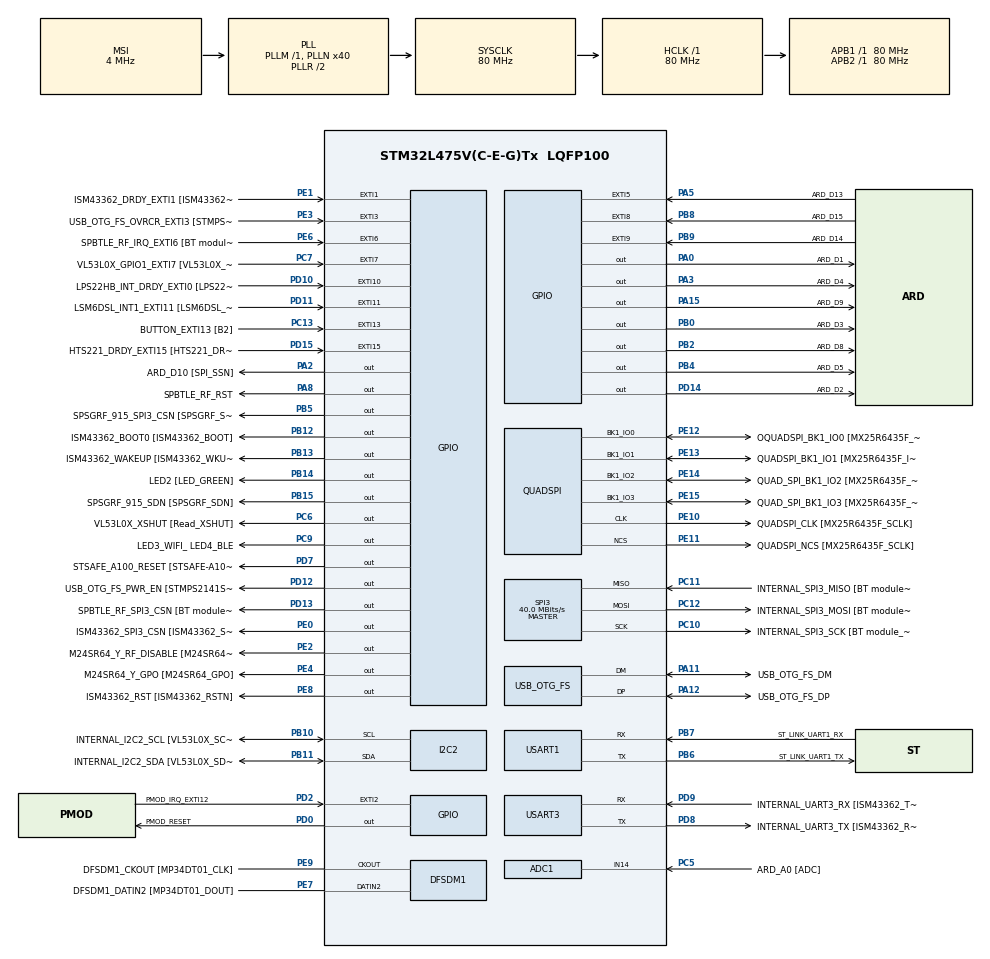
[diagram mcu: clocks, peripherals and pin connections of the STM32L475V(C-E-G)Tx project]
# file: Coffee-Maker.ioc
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ADC1.Channel-0\#ChannelRegularConversion=ADC_CHANNEL_14
ADC1.NbrOfConversionFlag=1
ADC1.OffsetNumber-0\#ChannelRegularConversion=ADC_OFFSET_NONE
ADC1.Rank-0\#ChannelRegularConversion=1
ADC1.SamplingTime-0\#ChannelRegularConversion=ADC_SAMPLETIME_2CYCLES_5
ADC1.master=1
Mcu.Family=STM32L4
Mcu.Name=STM32L475V(C-E-G)Tx
Mcu.Package=LQFP100
NVIC.EXTI15_10_IRQn=true\:0\:0\:false\:false\:true\:true\:true
NVIC.EXTI9_5_IRQn=true\:0\:0\:false\:false\:true\:true\:true
NVIC.PriorityGroup=NVIC_PRIORITYGROUP_4
PA0.GPIO_Label=ARD_D1
PA0.Signal=GPIO_Output
PA1.GPIO_Label=ARD_D0 [UART4_RX]
PA1.Signal=UART4_RX
PA10.GPIO_Label=USB_OTG_FS_ID
PA10.Signal=USB_OTG_FS_ID
PA11.GPIO_Label=USB_OTG_FS_DM
PA11.Mode=Device_Only
PA11.Signal=USB_OTG_FS_DM
PA12.GPIO_Label=USB_OTG_FS_DP
PA12.Mode=Device_Only
PA12.Signal=USB_OTG_FS_DP
PA13\ (JTMS-SWDIO).GPIO_Label=SYS_JTMS_SWDIO
PA13\ (JTMS-SWDIO).Mode=Serial_Wire
PA13\ (JTMS-SWDIO).Signal=SYS_JTMS-SWDIO
PA14\ (JTCK-SWCLK).GPIO_Label=SYS_JTCK_SWCLK
PA14\ (JTCK-SWCLK).Mode=Serial_Wire
PA14\ (JTCK-SWCLK).Signal=SYS_JTCK-SWCLK
PA15\ (JTDI).GPIO_Label=ARD_D9
PA15\ (JTDI).Signal=GPIO_Output
PA2.GPIO_Label=ARD_D10 [SPI_SSN]
PA2.Signal=GPIO_Output
PA3.GPIO_Label=ARD_D4
PA3.Signal=GPIO_Output
PA4.GPIO_Label=ARD_D7
PA4.Signal=ADCx_IN9
PA5.GPIO_Label=ARD_D13
PA5.Signal=GPXTI5
PA6.GPIO_Label=ARD_D12 [SPI1_MISO]
PA6.Signal=SPI1_MISO
PA7.GPIO_Label=ARD_D11 [SPI1_MOSI]
PA7.Signal=SPI1_MOSI
PA8.GPIO_Label=SPBTLE_RF_RST
PA8.Signal=GPIO_Output
PA9.GPIO_Label=USB_OTG_FS_VBUS [STMPS2141STR_OUT]
PA9.Signal=USB_OTG_FS_VBUS
PB0.GPIO_Label=ARD_D3
PB0.Signal=GPIO_Output
PB1.GPIO_Label=ARD_D6 [ADC1_IN6]
PB1.Signal=ADCx_IN16
PB10.GPIO_Label=INTERNAL_I2C2_SCL [VL53L0X_SCL]
PB10.GPIO_Pu=GPIO_PULLUP
PB10.Mode=I2C
PB10.Signal=I2C2_SCL
PB11.GPIO_Label=INTERNAL_I2C2_SDA [VL53L0X_SDA]
PB11.GPIO_Pu=GPIO_PULLUP
PB11.Mode=I2C
PB11.Signal=I2C2_SDA
PB12.GPIO_Label=ISM43362_BOOT0 [ISM43362_BOOT]
PB12.Signal=GPIO_Output
PB13.GPIO_Label=ISM43362_WAKEUP [ISM43362_WKUP]
PB13.Signal=GPIO_Output
PB14.GPIO_Label=LED2 [LED_GREEN]
PB14.Signal=GPIO_Output
PB15.GPIO_Label=SPSGRF_915_SDN [SPSGRF_SDN]
PB15.Signal=GPIO_Output
PB2.GPIO_Label=ARD_D8
PB2.Signal=GPIO_Output
PB3\ (JTDO-TRACESWO).GPIO_Label=SYS_JTD0_SWO
PB3\ (JTDO-TRACESWO).Signal=SYS_JTDO-SWO
PB4\ (NJTRST).GPIO_Label=ARD_D5
PB4\ (NJTRST).Signal=GPIO_Output
PB5.GPIO_Label=SPSGRF_915_SPI3_CSN [SPSGRF_SPI_CS]
PB5.PinState=GPIO_PIN_SET
PB5.Signal=GPIO_Output
PB6.GPIO_Label=ST_LINK_UART1_TX
PB6.Mode=Asynchronous
PB6.Signal=USART1_TX
PB7.GPIO_Label=ST_LINK_UART1_RX
PB7.Mode=Asynchronous
PB7.Signal=USART1_RX
PB8.GPIO_Label=ARD_D15
PB8.Signal=GPXTI8
PB9.GPIO_Label=ARD_D14
PB9.Signal=GPXTI9
PC0.GPIO_Label=ARD_A5 [ADC]
PC0.Signal=ADCx_IN1
PC1.GPIO_Label=ARD_A4 [ADC]
PC1.Signal=ADCx_IN2
PC10.GPIO_Label=INTERNAL_SPI3_SCK [BT module_SPI_SCLK] [ISM43362_SCK]
PC10.Mode=Full_Duplex_Master
PC10.Signal=SPI3_SCK
PC11.GPIO_Label=INTERNAL_SPI3_MISO [BT module_SPI_MISO] [ISM43362_MISO]
PC11.Mode=Full_Duplex_Master
PC11.Signal=SPI3_MISO
PC12.GPIO_Label=INTERNAL_SPI3_MOSI [BT module_SPI_MOSI] [ISM43362_MOSI]
PC12.Mode=Full_Duplex_Master
PC12.Signal=SPI3_MOSI
PC13.GPIO_Label=BUTTON_EXTI13 [B2]
PC13.GPIO_ModeDefaultEXTI=GPIO_MODE_IT_FALLING
PC13.Signal=GPXTI13
PC14-OSC32_IN\ (PC14).Mode=LSE-External-Oscillator
PC14-OSC32_IN\ (PC14).Signal=RCC_OSC32_IN
PC15-OSC32_OUT\ (PC15).Mode=LSE-External-Oscillator
PC15-OSC32_OUT\ (PC15).Signal=RCC_OSC32_OUT
PC2.GPIO_Label=ARD_A3 [ADC]
PC2.Signal=ADCx_IN3
PC3.GPIO_Label=ARD_A2 [ADC]
PC3.Signal=ADCx_IN4
PC4.GPIO_Label=ARD_A1 [ADC]
PC4.Signal=ADCx_IN13
PC5.GPIO_Label=ARD_A0 [ADC]
PC5.Signal=ADCx_IN14
PC6.GPIO_Label=VL53L0X_XSHUT [Read_XSHUT]
PC6.Signal=GPIO_Output
PC7.GPIO_Label=VL53L0X_GPIO1_EXTI7 [VL53L0X_GPIO1]
PC7.Signal=GPXTI7
PC9.GPIO_Label=LED3_WIFI_ LED4_BLE
PC9.Signal=GPIO_Output
PD0.GPIO_Label=PMOD_RESET
PD0.Signal=GPIO_Output
PD1.GPIO_Label=PMOD_SPI2_SCK
PD1.Signal=SPI2_SCK
PD10.GPIO_Label=LPS22HB_INT_DRDY_EXTI0 [LPS22HB_INT_DRDY] 
PD10.Signal=GPXTI10
PD11.GPIO_Label=LSM6DSL_INT1_EXTI11 [LSM6DSL_INT1]
PD11.Signal=GPXTI11
PD12.GPIO_Label=USB_OTG_FS_PWR_EN [STMPS2141STR_EN]
PD12.Signal=GPIO_Output
PD13.GPIO_Label=SPBTLE_RF_SPI3_CSN [BT module_SPI_CS]
PD13.PinState=GPIO_PIN_SET
PD13.Signal=GPIO_Output
PD14.GPIO_Label=ARD_D2
PD14.Signal=GPIO_Output
PD15.GPIO_Label=HTS221_DRDY_EXTI15 [HTS221_DRDY]
PD15.Signal=GPXTI15
PD2.GPIO_Label=PMOD_IRQ_EXTI12
PD2.Signal=GPXTI2
PD3.GPIO_Label=PMOD_UART2_CTS
PD3.Signal=USART2_CTS
PD4.GPIO_Label=PMOD_UART2_RTS
PD4.Signal=USART2_RTS
PD5.GPIO_Label=PMOD_UART2_TX
PD5.Signal=USART2_TX
PD6.GPIO_Label=PMOD_UART2_RX
PD6.Signal=USART2_RX
PD7.GPIO_Label=STSAFE_A100_RESET [STSAFE-A100_RESET]
PD7.Signal=GPIO_Output
PD8.GPIO_Label=INTERNAL_UART3_TX [ISM43362_RX]
PD8.Mode=Asynchronous
PD8.Signal=USART3_TX
PD9.GPIO_Label=INTERNAL_UART3_RX [ISM43362_TX]
PD9.Mode=Asynchronous
PD9.Signal=USART3_RX
PE0.GPIO_Label=ISM43362_SPI3_CSN [ISM43362_SSN]
PE0.PinState=GPIO_PIN_SET
PE0.Signal=GPIO_Output
PE1.GPIO_Label=ISM43362_DRDY_EXTI1 [ISM43362_DATARDY]
PE1.Signal=GPXTI1
PE10.GPIO_Label=QUADSPI_CLK [MX25R6435F_SCLK]
PE10.Mode=Single Bank
PE10.Signal=QUADSPI_CLK
PE11.GPIO_Label=QUADSPI_NCS [MX25R6435F_SCLK]
PE11.Mode=Single Bank
PE11.Signal=QUADSPI_NCS
PE12.GPIO_Label=OQUADSPI_BK1_IO0 [MX25R6435F_IO0]
PE12.Mode=Single Bank
PE12.Signal=QUADSPI_BK1_IO0
PE13.GPIO_Label=QUADSPI_BK1_IO1 [MX25R6435F_IO1]
PE13.Mode=Single Bank
PE13.Signal=QUADSPI_BK1_IO1
PE14.GPIO_Label=QUAD_SPI_BK1_IO2 [MX25R6435F_IO2]
PE14.Mode=Single Bank
PE14.Signal=QUADSPI_BK1_IO2
PE15.GPIO_Label=QUAD_SPI_BK1_IO3 [MX25R6435F_IO3]
PE15.Mode=Single Bank
PE15.Signal=QUADSPI_BK1_IO3
PE2.GPIO_Label=M24SR64_Y_RF_DISABLE [M24SR64_RFDIS]
PE2.Signal=GPIO_Output
PE3.GPIO_Label=USB_OTG_FS_OVRCR_EXTI3 [STMPS2141STR_FAULT]
PE3.Signal=GPXTI3
PE4.GPIO_Label=M24SR64_Y_GPO [M24SR64_GPO]
PE4.Signal=GPIO_Output
PE6.GPIO_Label=SPBTLE_RF_IRQ_EXTI6 [BT module_SPI_IRQ]
PE6.Signal=GPXTI6
PE7.GPIO_Label=DFSDM1_DATIN2 [MP34DT01_DOUT]
PE7.Signal=S_DATAIN2DFSDM1
PE8.GPIO_Label=ISM43362_RST [ISM43362_RSTN]
PE8.Signal=GPIO_Output
PE9.GPIO_Label=DFSDM1_CKOUT [MP34DT01_CLK]
PE9.Signal=S_CKOUTDFSDM1
ProjectManager.HeapSize=0x200
ProjectManager.StackSize=0x400
ProjectManager.TargetToolchain=STM32CubeIDE
QUADSPI.ClockPrescaler=2
QUADSPI.FifoThreshold=4
QUADSPI.FlashSize=23
QUADSPI.SampleShifting=QSPI_SAMPLE_SHIFTING_HALFCYCLE
RCC.ADCFreq_Value=48000000
RCC.AHBFreq_Value=80000000
RCC.APB1Freq_Value=80000000
RCC.APB1TimFreq_Value=80000000
RCC.APB2Freq_Value=80000000
RCC.APB2TimFreq_Value=80000000
RCC.CortexFreq_Value=80000000
RCC.HCLKFreq_Value=80000000
RCC.HSE_VALUE=8000000
RCC.HSI_VALUE=16000000
RCC.MSI_VALUE=4000000
RCC.PLLN=40
RCC.PLLSAI1N=24
RCC.SYSCLKFreq_VALUE=80000000
RCC.SYSCLKSource=RCC_SYSCLKSOURCE_PLLCLK
RCC.USBFreq_Value=48000000
RCC.VCOOutputFreq_Value=160000000
SH.ADCx_IN1.0=ADC1_IN1
SH.ADCx_IN13.0=ADC1_IN13
SH.ADCx_IN14.0=ADC1_IN14,IN14-Single-Ended
SH.ADCx_IN16.0=ADC1_IN16
SH.ADCx_IN2.0=ADC1_IN2
SH.ADCx_IN3.0=ADC1_IN3
SH.ADCx_IN4.0=ADC1_IN4
SH.ADCx_IN9.0=ADC1_IN9
SH.S_CKOUTDFSDM1.0=DFSDM1_CKOUT,CKOUT
SH.S_CKOUTDFSDM1.1=DFSDM1_CKOUT,PDM_SPI_Input_from_ch12_and_Internal_Clock
SH.S_DATAIN2DFSDM1.0=DFSDM1_DATIN2,PDM_SPI_Input_from_ch12_and_Internal_Clock
SPI3.CalculateBaudRate=40.0 MBits/s
SPI3.Direction=SPI_DIRECTION_2LINES
SPI3.Mode=SPI_MODE_MASTER
SPI3.VirtualType=VM_MASTER
USART1.VirtualMode-Asynchronous=VM_ASYNC
USART3.VirtualMode-Asynchronous=VM_ASYNC
USB_OTG_FS.VirtualMode=Device_Only
board=B-L475E-IOT01A1

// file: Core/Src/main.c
/* USER CODE BEGIN Header */
/**
  ******************************************************************************
  * @file           : main.c
  * @brief          : Main program body
  ******************************************************************************
  * @attention
  *
  * <h2><center>&copy; Copyright (c) 2021 STMicroelectronics.
  * All rights reserved.</center></h2>
  *
  * This software component is licensed by ST under BSD 3-Clause license,
  * the "License"; You may not use this file except in compliance with the
  * License. You may obtain a copy of the License at:
  *                        opensource.org/licenses/BSD-3-Clause
  *
  ******************************************************************************
  */
/* USER CODE END Header */
#include "main.h"

/* USER CODE BEGIN Includes */
#include <stdio.h>
#include "stm32l475e_iot01_tsensor.h"

/* USER CODE END Includes */

/* USER CODE BEGIN PM */

int energy_save;
int strong_brew;
int water_level;
int cup_size;
int cup_choice;
float water_temp;

/* USER CODE END PM */

ADC_HandleTypeDef hadc1;

DFSDM_Channel_HandleTypeDef hdfsdm1_channel1;

I2C_HandleTypeDef hi2c2;

QSPI_HandleTypeDef hqspi;

SPI_HandleTypeDef hspi3;

UART_HandleTypeDef huart1;
UART_HandleTypeDef huart3;

PCD_HandleTypeDef hpcd_USB_OTG_FS;

void SystemClock_Config(void);
void PeriphCommonClock_Config(void);
static void MX_GPIO_Init(void);
static void MX_DFSDM1_Init(void);
static void MX_I2C2_Init(void);
static void MX_QUADSPI_Init(void);
static void MX_SPI3_Init(void);
static void MX_USART1_UART_Init(void);
static void MX_USART3_UART_Init(void);
static void MX_USB_OTG_FS_PCD_Init(void);
static void MX_ADC1_Init(void);

/* USER CODE BEGIN 0 */

int __io_putchar(int ch)
{
	HAL_UART_Transmit(&huart1, (uint8_t *)&ch, 1, 1000);
	return 1;
}

/* USER CODE END 0 */

int main(void)
{

  /* MCU Configuration--------------------------------------------------------*/

  /* Reset of all peripherals, Initializes the Flash interface and the Systick. */
  HAL_Init();

  /* Configure the system clock */
  SystemClock_Config();

/* Configure the peripherals common clocks */
  PeriphCommonClock_Config();

  /* Initialize all configured peripherals */
  MX_GPIO_Init();
  MX_DFSDM1_Init();
  MX_I2C2_Init();
  MX_QUADSPI_Init();
  MX_SPI3_Init();
  MX_USART1_UART_Init();
  MX_USART3_UART_Init();
  MX_USB_OTG_FS_PCD_Init();
  MX_ADC1_Init();
  /* USER CODE BEGIN 2 */

  // Automatically turn on energy saver mode
  energy_save = 1;
  HAL_GPIO_WritePin(GPIOB, ARD_D8_Pin, GPIO_PIN_SET);

  //Set strong Brew variable and turn on LED
  strong_brew = 1;
  HAL_GPIO_WritePin(GPIOB, ARD_D5_Pin, GPIO_PIN_SET);

  //Cup size selector
  cup_size = 1;
  cup_choice = 12;
  //Start with 12oz cup selected
  HAL_GPIO_WritePin(GPIOA, ARD_D1_Pin, GPIO_PIN_SET);

  //Water temperature sensor
  BSP_TSENSOR_Init();
  water_temp = BSP_TSENSOR_ReadTemp();

  // Water level variable (Max water == 100 | Min Water = 0;
  water_level = 0;

  //Time tracker in seconds
  int time_sec = 0;

  //Turn On Power LED2 at Start
  HAL_GPIO_WritePin(LED2_GPIO_Port, LED2_Pin, GPIO_PIN_SET);

  printf("Power On\r\n\n");

  printf("---Coffee-Maker V1.0---\r\n");
  printf("Brewing Start\r\n");

  /* USER CODE END 2 */

  /* Infinite loop */
  /* USER CODE BEGIN WHILE */
  while (1)
  {
	  /* USER CODE BEGIN 3 */

	  //Check water level
	  //If water level is below 25% capacity, turn on Add Water LED
	  HAL_ADC_Start(&hadc1);
	  HAL_ADC_PollForConversion(&hadc1, 100);
	  water_level = HAL_ADC_GetValue(&hadc1) / 100;
	  HAL_ADC_Stop(&hadc1);
	  if (water_level == 0 || water_level > 25)
	  {
		  // 0 level will mock that the water level is full
		  if (water_level == 0)
		  {
			  water_level = 100;
		  }
		  HAL_GPIO_WritePin(GPIOA, ARD_D9_Pin, GPIO_PIN_RESET);
	  }
	  else if (water_level <= 25)
	  {
		  HAL_GPIO_WritePin(GPIOA, ARD_D9_Pin, GPIO_PIN_SET);
	  }

	  //if LED2 on after 25 seconds
	  if((time_sec != 0) && (time_sec % 25 == 0) && energy_save && HAL_GPIO_ReadPin(LED2_GPIO_Port, LED2_Pin))
	  {
		  //Turn off Power LED
		  HAL_GPIO_WritePin(LED2_GPIO_Port, LED2_Pin, GPIO_PIN_RESET);

		  printf("Brew Status: Finished\r\n");
		  if(strong_brew)
		  {
			  printf("Strong Brew: Enabled\r\n");
		  }
		  else
		  {
			  printf("Strong Brew: Disabled\r\n");
		  }
		  printf("Cup size: %doz\r\n\n", cup_choice);

		  printf("Water Temp: %f C\r\n", water_temp);
		  printf("Water Level: %d\r\n", water_level);

		  printf("Brewing Stop\r\n");
		  printf("---Have a great day!---\r\n");
		  printf("---Fran Clan Roasts---\r\n\n");
		  printf("Power off\r\n\n");
	  }

	  //Increment timer
	  time_sec++;
	  HAL_Delay(1000);

	  /* USER CODE END 3 */
  }
    /* USER CODE END WHILE */
}

/**
  * @brief Interrupt to toggle LED2
  * @retval None
  */
void HAL_GPIO_EXTI_Callback(uint16_t GPIO_Pin)
{
	// Prevent unused argument(s) compilation warning
	UNUSED(GPIO_Pin);

	// Toggle Auto Turn off
	if(GPIO_Pin == ARD_D13_Pin)
	{
		energy_save = !energy_save;
		HAL_GPIO_TogglePin(GPIOB, ARD_D8_Pin);
	}
	//Toggle Strong Brew
	else if(GPIO_Pin == ARD_D14_Pin)
	{
		strong_brew = !strong_brew;
		HAL_GPIO_TogglePin(GPIOB, ARD_D5_Pin);
	}
	//Toggle through cup sizes
	else if(GPIO_Pin == ARD_D15_Pin)
	{
		//Toggle between cup sizes
		cup_size++;

		if (cup_size == 1)
		{
			cup_choice = 12;

			HAL_GPIO_WritePin(GPIOA, ARD_D4_Pin, GPIO_PIN_RESET);
			HAL_GPIO_WritePin(GPIOA, ARD_D1_Pin, GPIO_PIN_SET);
		}
		else if (cup_size == 2)
		{
			cup_choice = 10;

			HAL_GPIO_WritePin(GPIOA, ARD_D1_Pin, GPIO_PIN_RESET);
			HAL_GPIO_WritePin(GPIOD, ARD_D2_Pin, GPIO_PIN_SET);
		}
		else if (cup_size == 3)
		{
			cup_choice = 8;

			HAL_GPIO_WritePin(GPIOD, ARD_D2_Pin, GPIO_PIN_RESET);
			HAL_GPIO_WritePin(GPIOB, ARD_D3_Pin, GPIO_PIN_SET);
		}
		else if (cup_size == 4)
		{
			cup_choice = 6;

			HAL_GPIO_WritePin(GPIOB, ARD_D3_Pin, GPIO_PIN_RESET);
			HAL_GPIO_WritePin(GPIOA, ARD_D4_Pin, GPIO_PIN_SET);

			cup_size = 0;
		}
	}

	//Power on/off
	else
	{
		if (HAL_GPIO_ReadPin(LED2_GPIO_Port, LED2_Pin))
		{
			printf("Brew Status: Paused\r\n");
			if(strong_brew)
			{
				printf("Strong Brew: Enabled\r\n");
			}
			else
			{
				printf("Strong Brew: Disabled\r\n");
			}
			printf("Cup size: %doz\r\n\n", cup_choice);

		    printf("Water Temp: %f C\r\n", water_temp);
			printf("Water Level: %d %%\r\n", water_level);

			printf("Brewing Stop\r\n");
			printf("---Have a great day!---\r\n");
			printf("---Fran Clan Roasts---\r\n\n");
			printf("Power off\r\n\n");
		}
		else
		{
			printf("Power on\r\n\n");
			printf("---Coffee-Maker V1.0---\r\n");
			printf("Brewing Start\r\n");
		}

		HAL_GPIO_TogglePin(LED2_GPIO_Port, LED2_Pin);
	}
}

void SystemClock_Config(void)
{
  RCC_OscInitTypeDef RCC_OscInitStruct = {0};
  RCC_ClkInitTypeDef RCC_ClkInitStruct = {0};

  /** Configure the main internal regulator output voltage
  */
  if (HAL_PWREx_ControlVoltageScaling(PWR_REGULATOR_VOLTAGE_SCALE1) != HAL_OK)
  {
    Error_Handler();
  }
  /** Configure LSE Drive Capability
  */
  HAL_PWR_EnableBkUpAccess();
  __HAL_RCC_LSEDRIVE_CONFIG(RCC_LSEDRIVE_LOW);
  /** Initializes the RCC Oscillators according to the specified parameters
  * in the RCC_OscInitTypeDef structure.
  */
  RCC_OscInitStruct.OscillatorType = RCC_OSCILLATORTYPE_LSE|RCC_OSCILLATORTYPE_MSI;
  RCC_OscInitStruct.LSEState = RCC_LSE_ON;
  RCC_OscInitStruct.MSIState = RCC_MSI_ON;
  RCC_OscInitStruct.MSICalibrationValue = 0;
  RCC_OscInitStruct.MSIClockRange = RCC_MSIRANGE_6;
  RCC_OscInitStruct.PLL.PLLState = RCC_PLL_ON;
  RCC_OscInitStruct.PLL.PLLSource = RCC_PLLSOURCE_MSI;
  RCC_OscInitStruct.PLL.PLLM = 1;
  RCC_OscInitStruct.PLL.PLLN = 40;
  RCC_OscInitStruct.PLL.PLLP = RCC_PLLP_DIV7;
  RCC_OscInitStruct.PLL.PLLQ = RCC_PLLQ_DIV2;
  RCC_OscInitStruct.PLL.PLLR = RCC_PLLR_DIV2;
  if (HAL_RCC_OscConfig(&RCC_OscInitStruct) != HAL_OK)
  {
    Error_Handler();
  }
  /** Initializes the CPU, AHB and APB buses clocks
  */
  RCC_ClkInitStruct.ClockType = RCC_CLOCKTYPE_HCLK|RCC_CLOCKTYPE_SYSCLK
                              |RCC_CLOCKTYPE_PCLK1|RCC_CLOCKTYPE_PCLK2;
  RCC_ClkInitStruct.SYSCLKSource = RCC_SYSCLKSOURCE_PLLCLK;
  RCC_ClkInitStruct.AHBCLKDivider = RCC_SYSCLK_DIV1;
  RCC_ClkInitStruct.APB1CLKDivider = RCC_HCLK_DIV1;
  RCC_ClkInitStruct.APB2CLKDivider = RCC_HCLK_DIV1;

  if (HAL_RCC_ClockConfig(&RCC_ClkInitStruct, FLASH_LATENCY_4) != HAL_OK)
  {
    Error_Handler();
  }
  /** Enable MSI Auto calibration
  */
  HAL_RCCEx_EnableMSIPLLMode();
}

void PeriphCommonClock_Config(void)
{
  RCC_PeriphCLKInitTypeDef PeriphClkInit = {0};

  /** Initializes the peripherals clock
  */
  PeriphClkInit.PeriphClockSelection = RCC_PERIPHCLK_USB|RCC_PERIPHCLK_ADC;
  PeriphClkInit.AdcClockSelection = RCC_ADCCLKSOURCE_PLLSAI1;
  PeriphClkInit.UsbClockSelection = RCC_USBCLKSOURCE_PLLSAI1;
  PeriphClkInit.PLLSAI1.PLLSAI1Source = RCC_PLLSOURCE_MSI;
  PeriphClkInit.PLLSAI1.PLLSAI1M = 1;
  PeriphClkInit.PLLSAI1.PLLSAI1N = 24;
  PeriphClkInit.PLLSAI1.PLLSAI1P = RCC_PLLP_DIV7;
  PeriphClkInit.PLLSAI1.PLLSAI1Q = RCC_PLLQ_DIV2;
  PeriphClkInit.PLLSAI1.PLLSAI1R = RCC_PLLR_DIV2;
  PeriphClkInit.PLLSAI1.PLLSAI1ClockOut = RCC_PLLSAI1_48M2CLK|RCC_PLLSAI1_ADC1CLK;
  if (HAL_RCCEx_PeriphCLKConfig(&PeriphClkInit) != HAL_OK)
  {
    Error_Handler();
  }
}

static void MX_ADC1_Init(void)
{

  ADC_MultiModeTypeDef multimode = {0};
  ADC_ChannelConfTypeDef sConfig = {0};

  /** Common config
  */
  hadc1.Instance = ADC1;
  hadc1.Init.ClockPrescaler = ADC_CLOCK_ASYNC_DIV1;
  hadc1.Init.Resolution = ADC_RESOLUTION_12B;
  hadc1.Init.DataAlign = ADC_DATAALIGN_RIGHT;
  hadc1.Init.ScanConvMode = ADC_SCAN_DISABLE;
  hadc1.Init.EOCSelection = ADC_EOC_SINGLE_CONV;
  hadc1.Init.LowPowerAutoWait = DISABLE;
  hadc1.Init.ContinuousConvMode = DISABLE;
  hadc1.Init.NbrOfConversion = 1;
  hadc1.Init.DiscontinuousConvMode = DISABLE;
  hadc1.Init.ExternalTrigConv = ADC_SOFTWARE_START;
  hadc1.Init.ExternalTrigConvEdge = ADC_EXTERNALTRIGCONVEDGE_NONE;
  hadc1.Init.DMAContinuousRequests = DISABLE;
  hadc1.Init.Overrun = ADC_OVR_DATA_PRESERVED;
  hadc1.Init.OversamplingMode = DISABLE;
  if (HAL_ADC_Init(&hadc1) != HAL_OK)
  {
    Error_Handler();
  }
  /** Configure the ADC multi-mode
  */
  multimode.Mode = ADC_MODE_INDEPENDENT;
  if (HAL_ADCEx_MultiModeConfigChannel(&hadc1, &multimode) != HAL_OK)
  {
    Error_Handler();
  }
  /** Configure Regular Channel
  */
  sConfig.Channel = ADC_CHANNEL_14;
  sConfig.Rank = ADC_REGULAR_RANK_1;
  sConfig.SamplingTime = ADC_SAMPLETIME_2CYCLES_5;
  sConfig.SingleDiff = ADC_SINGLE_ENDED;
  sConfig.OffsetNumber = ADC_OFFSET_NONE;
  sConfig.Offset = 0;
  if (HAL_ADC_ConfigChannel(&hadc1, &sConfig) != HAL_OK)
  {
    Error_Handler();
  }

}

static void MX_DFSDM1_Init(void)
{

  hdfsdm1_channel1.Instance = DFSDM1_Channel1;
  hdfsdm1_channel1.Init.OutputClock.Activation = ENABLE;
  hdfsdm1_channel1.Init.OutputClock.Selection = DFSDM_CHANNEL_OUTPUT_CLOCK_SYSTEM;
  hdfsdm1_channel1.Init.OutputClock.Divider = 2;
  hdfsdm1_channel1.Init.Input.Multiplexer = DFSDM_CHANNEL_EXTERNAL_INPUTS;
  hdfsdm1_channel1.Init.Input.DataPacking = DFSDM_CHANNEL_STANDARD_MODE;
  hdfsdm1_channel1.Init.Input.Pins = DFSDM_CHANNEL_FOLLOWING_CHANNEL_PINS;
  hdfsdm1_channel1.Init.SerialInterface.Type = DFSDM_CHANNEL_SPI_RISING;
  hdfsdm1_channel1.Init.SerialInterface.SpiClock = DFSDM_CHANNEL_SPI_CLOCK_INTERNAL;
  hdfsdm1_channel1.Init.Awd.FilterOrder = DFSDM_CHANNEL_FASTSINC_ORDER;
  hdfsdm1_channel1.Init.Awd.Oversampling = 1;
  hdfsdm1_channel1.Init.Offset = 0;
  hdfsdm1_channel1.Init.RightBitShift = 0x00;
  if (HAL_DFSDM_ChannelInit(&hdfsdm1_channel1) != HAL_OK)
  {
    Error_Handler();
  }

}

static void MX_I2C2_Init(void)
{

  hi2c2.Instance = I2C2;
  hi2c2.Init.Timing = 0x00000E14;
  hi2c2.Init.OwnAddress1 = 0;
  hi2c2.Init.AddressingMode = I2C_ADDRESSINGMODE_7BIT;
  hi2c2.Init.DualAddressMode = I2C_DUALADDRESS_DISABLE;
  hi2c2.Init.OwnAddress2 = 0;
  hi2c2.Init.OwnAddress2Masks = I2C_OA2_NOMASK;
  hi2c2.Init.GeneralCallMode = I2C_GENERALCALL_DISABLE;
  hi2c2.Init.NoStretchMode = I2C_NOSTRETCH_DISABLE;
  if (HAL_I2C_Init(&hi2c2) != HAL_OK)
  {
    Error_Handler();
  }
  /** Configure Analogue filter
  */
  if (HAL_I2CEx_ConfigAnalogFilter(&hi2c2, I2C_ANALOGFILTER_ENABLE) != HAL_OK)
  {
    Error_Handler();
  }
  /** Configure Digital filter
  */
  if (HAL_I2CEx_ConfigDigitalFilter(&hi2c2, 0) != HAL_OK)
  {
    Error_Handler();
  }

}

static void MX_QUADSPI_Init(void)
{

  /* QUADSPI parameter configuration*/
  hqspi.Instance = QUADSPI;
  hqspi.Init.ClockPrescaler = 2;
  hqspi.Init.FifoThreshold = 4;
  hqspi.Init.SampleShifting = QSPI_SAMPLE_SHIFTING_HALFCYCLE;
  hqspi.Init.FlashSize = 23;
  hqspi.Init.ChipSelectHighTime = QSPI_CS_HIGH_TIME_1_CYCLE;
  hqspi.Init.ClockMode = QSPI_CLOCK_MODE_0;
  if (HAL_QSPI_Init(&hqspi) != HAL_OK)
  {
    Error_Handler();
  }

}

static void MX_SPI3_Init(void)
{

  /* SPI3 parameter configuration*/
  hspi3.Instance = SPI3;
  hspi3.Init.Mode = SPI_MODE_MASTER;
  hspi3.Init.Direction = SPI_DIRECTION_2LINES;
  hspi3.Init.DataSize = SPI_DATASIZE_4BIT;
  hspi3.Init.CLKPolarity = SPI_POLARITY_LOW;
  hspi3.Init.CLKPhase = SPI_PHASE_1EDGE;
  hspi3.Init.NSS = SPI_NSS_SOFT;
  hspi3.Init.BaudRatePrescaler = SPI_BAUDRATEPRESCALER_2;
  hspi3.Init.FirstBit = SPI_FIRSTBIT_MSB;
  hspi3.Init.TIMode = SPI_TIMODE_DISABLE;
  hspi3.Init.CRCCalculation = SPI_CRCCALCULATION_DISABLE;
  hspi3.Init.CRCPolynomial = 7;
  hspi3.Init.CRCLength = SPI_CRC_LENGTH_DATASIZE;
  hspi3.Init.NSSPMode = SPI_NSS_PULSE_ENABLE;
  if (HAL_SPI_Init(&hspi3) != HAL_OK)
  {
    Error_Handler();
  }

}

static void MX_USART1_UART_Init(void)
{

  huart1.Instance = USART1;
  huart1.Init.BaudRate = 115200;
  huart1.Init.WordLength = UART_WORDLENGTH_8B;
  huart1.Init.StopBits = UART_STOPBITS_1;
  huart1.Init.Parity = UART_PARITY_NONE;
  huart1.Init.Mode = UART_MODE_TX_RX;
  huart1.Init.HwFlowCtl = UART_HWCONTROL_NONE;
  huart1.Init.OverSampling = UART_OVERSAMPLING_16;
  huart1.Init.OneBitSampling = UART_ONE_BIT_SAMPLE_DISABLE;
  huart1.AdvancedInit.AdvFeatureInit = UART_ADVFEATURE_NO_INIT;
  if (HAL_UART_Init(&huart1) != HAL_OK)
  {
    Error_Handler();
  }

}

static void MX_USART3_UART_Init(void)
{

  huart3.Instance = USART3;
  huart3.Init.BaudRate = 115200;
  huart3.Init.WordLength = UART_WORDLENGTH_8B;
  huart3.Init.StopBits = UART_STOPBITS_1;
  huart3.Init.Parity = UART_PARITY_NONE;
  huart3.Init.Mode = UART_MODE_TX_RX;
  huart3.Init.HwFlowCtl = UART_HWCONTROL_NONE;
  huart3.Init.OverSampling = UART_OVERSAMPLING_16;
  huart3.Init.OneBitSampling = UART_ONE_BIT_SAMPLE_DISABLE;
  huart3.AdvancedInit.AdvFeatureInit = UART_ADVFEATURE_NO_INIT;
  if (HAL_UART_Init(&huart3) != HAL_OK)
  {
    Error_Handler();
  }

}

static void MX_USB_OTG_FS_PCD_Init(void)
{

  hpcd_USB_OTG_FS.Instance = USB_OTG_FS;
  hpcd_USB_OTG_FS.Init.dev_endpoints = 6;
  hpcd_USB_OTG_FS.Init.speed = PCD_SPEED_FULL;
  hpcd_USB_OTG_FS.Init.phy_itface = PCD_PHY_EMBEDDED;
  hpcd_USB_OTG_FS.Init.Sof_enable = DISABLE;
  hpcd_USB_OTG_FS.Init.low_power_enable = DISABLE;
  hpcd_USB_OTG_FS.Init.lpm_enable = DISABLE;
  hpcd_USB_OTG_FS.Init.battery_charging_enable = DISABLE;
  hpcd_USB_OTG_FS.Init.use_dedicated_ep1 = DISABLE;
  hpcd_USB_OTG_FS.Init.vbus_sensing_enable = DISABLE;
  if (HAL_PCD_Init(&hpcd_USB_OTG_FS) != HAL_OK)
  {
    Error_Handler();
  }

}

static void MX_GPIO_Init(void)
{
  GPIO_InitTypeDef GPIO_InitStruct = {0};

  /* GPIO Ports Clock Enable */
  __HAL_RCC_GPIOE_CLK_ENABLE();
  __HAL_RCC_GPIOC_CLK_ENABLE();
  __HAL_RCC_GPIOA_CLK_ENABLE();
  __HAL_RCC_GPIOB_CLK_ENABLE();
  __HAL_RCC_GPIOD_CLK_ENABLE();

  /*Configure GPIO pin Output Level */
  HAL_GPIO_WritePin(GPIOE, M24SR64_Y_RF_DISABLE_Pin|M24SR64_Y_GPO_Pin|ISM43362_RST_Pin, GPIO_PIN_RESET);

  /*Configure GPIO pin Output Level */
  HAL_GPIO_WritePin(GPIOA, ARD_D1_Pin|ARD_D10_Pin|ARD_D4_Pin|SPBTLE_RF_RST_Pin
                          |ARD_D9_Pin, GPIO_PIN_RESET);

  /*Configure GPIO pin Output Level */
  HAL_GPIO_WritePin(GPIOB, ARD_D3_Pin|ARD_D8_Pin|ISM43362_BOOT0_Pin|ISM43362_WAKEUP_Pin
                          |LED2_Pin|SPSGRF_915_SDN_Pin|ARD_D5_Pin, GPIO_PIN_RESET);

  /*Configure GPIO pin Output Level */
  HAL_GPIO_WritePin(GPIOD, USB_OTG_FS_PWR_EN_Pin|ARD_D2_Pin|PMOD_RESET_Pin|STSAFE_A100_RESET_Pin, GPIO_PIN_RESET);

  /*Configure GPIO pin Output Level */
  HAL_GPIO_WritePin(SPBTLE_RF_SPI3_CSN_GPIO_Port, SPBTLE_RF_SPI3_CSN_Pin, GPIO_PIN_SET);

  /*Configure GPIO pin Output Level */
  HAL_GPIO_WritePin(GPIOC, VL53L0X_XSHUT_Pin|LED3_WIFI__LED4_BLE_Pin, GPIO_PIN_RESET);

  /*Configure GPIO pin Output Level */
  HAL_GPIO_WritePin(SPSGRF_915_SPI3_CSN_GPIO_Port, SPSGRF_915_SPI3_CSN_Pin, GPIO_PIN_SET);

  /*Configure GPIO pin Output Level */
  HAL_GPIO_WritePin(ISM43362_SPI3_CSN_GPIO_Port, ISM43362_SPI3_CSN_Pin, GPIO_PIN_SET);

  /*Configure GPIO pins : M24SR64_Y_RF_DISABLE_Pin M24SR64_Y_GPO_Pin ISM43362_RST_Pin ISM43362_SPI3_CSN_Pin */
  GPIO_InitStruct.Pin = M24SR64_Y_RF_DISABLE_Pin|M24SR64_Y_GPO_Pin|ISM43362_RST_Pin|ISM43362_SPI3_CSN_Pin;
  GPIO_InitStruct.Mode = GPIO_MODE_OUTPUT_PP;
  GPIO_InitStruct.Pull = GPIO_NOPULL;
  GPIO_InitStruct.Speed = GPIO_SPEED_FREQ_LOW;
  HAL_GPIO_Init(GPIOE, &GPIO_InitStruct);

  /*Configure GPIO pins : USB_OTG_FS_OVRCR_EXTI3_Pin SPBTLE_RF_IRQ_EXTI6_Pin ISM43362_DRDY_EXTI1_Pin */
  GPIO_InitStruct.Pin = USB_OTG_FS_OVRCR_EXTI3_Pin|SPBTLE_RF_IRQ_EXTI6_Pin|ISM43362_DRDY_EXTI1_Pin;
  GPIO_InitStruct.Mode = GPIO_MODE_IT_RISING;
  GPIO_InitStruct.Pull = GPIO_NOPULL;
  HAL_GPIO_Init(GPIOE, &GPIO_InitStruct);

  /*Configure GPIO pin : BUTTON_EXTI13_Pin */
  GPIO_InitStruct.Pin = BUTTON_EXTI13_Pin;
  GPIO_InitStruct.Mode = GPIO_MODE_IT_FALLING;
  GPIO_InitStruct.Pull = GPIO_NOPULL;
  HAL_GPIO_Init(BUTTON_EXTI13_GPIO_Port, &GPIO_InitStruct);

  /*Configure GPIO pins : ARD_D1_Pin ARD_D10_Pin ARD_D4_Pin SPBTLE_RF_RST_Pin
                           ARD_D9_Pin */
  GPIO_InitStruct.Pin = ARD_D1_Pin|ARD_D10_Pin|ARD_D4_Pin|SPBTLE_RF_RST_Pin
                          |ARD_D9_Pin;
  GPIO_InitStruct.Mode = GPIO_MODE_OUTPUT_PP;
  GPIO_InitStruct.Pull = GPIO_NOPULL;
  GPIO_InitStruct.Speed = GPIO_SPEED_FREQ_LOW;
  HAL_GPIO_Init(GPIOA, &GPIO_InitStruct);

  /*Configure GPIO pin : ARD_D0_Pin */
  GPIO_InitStruct.Pin = ARD_D0_Pin;
  GPIO_InitStruct.Mode = GPIO_MODE_AF_PP;
  GPIO_InitStruct.Pull = GPIO_NOPULL;
  GPIO_InitStruct.Speed = GPIO_SPEED_FREQ_VERY_HIGH;
  GPIO_InitStruct.Alternate = GPIO_AF8_UART4;
  HAL_GPIO_Init(ARD_D0_GPIO_Port, &GPIO_InitStruct);

  /*Configure GPIO pin : ARD_D13_Pin */
  GPIO_InitStruct.Pin = ARD_D13_Pin;
  GPIO_InitStruct.Mode = GPIO_MODE_IT_RISING;
  GPIO_InitStruct.Pull = GPIO_NOPULL;
  HAL_GPIO_Init(ARD_D13_GPIO_Port, &GPIO_InitStruct);

  /*Configure GPIO pins : ARD_D12_Pin ARD_D11_Pin */
  GPIO_InitStruct.Pin = ARD_D12_Pin|ARD_D11_Pin;
  GPIO_InitStruct.Mode = GPIO_MODE_AF_PP;
  GPIO_InitStruct.Pull = GPIO_NOPULL;
  GPIO_InitStruct.Speed = GPIO_SPEED_FREQ_VERY_HIGH;
  GPIO_InitStruct.Alternate = GPIO_AF5_SPI1;
  HAL_GPIO_Init(GPIOA, &GPIO_InitStruct);

  /*Configure GPIO pins : ARD_D3_Pin ARD_D8_Pin ISM43362_BOOT0_Pin ISM43362_WAKEUP_Pin
                           LED2_Pin SPSGRF_915_SDN_Pin ARD_D5_Pin SPSGRF_915_SPI3_CSN_Pin */
  GPIO_InitStruct.Pin = ARD_D3_Pin|ARD_D8_Pin|ISM43362_BOOT0_Pin|ISM43362_WAKEUP_Pin
                          |LED2_Pin|SPSGRF_915_SDN_Pin|ARD_D5_Pin|SPSGRF_915_SPI3_CSN_Pin;
  GPIO_InitStruct.Mode = GPIO_MODE_OUTPUT_PP;
  GPIO_InitStruct.Pull = GPIO_NOPULL;
  GPIO_InitStruct.Speed = GPIO_SPEED_FREQ_LOW;
  HAL_GPIO_Init(GPIOB, &GPIO_InitStruct);

  /*Configure GPIO pins : LPS22HB_INT_DRDY_EXTI0_Pin LSM6DSL_INT1_EXTI11_Pin HTS221_DRDY_EXTI15_Pin PMOD_IRQ_EXTI12_Pin */
  GPIO_InitStruct.Pin = LPS22HB_INT_DRDY_EXTI0_Pin|LSM6DSL_INT1_EXTI11_Pin|HTS221_DRDY_EXTI15_Pin|PMOD_IRQ_EXTI12_Pin;
  GPIO_InitStruct.Mode = GPIO_MODE_IT_RISING;
  GPIO_InitStruct.Pull = GPIO_NOPULL;
  HAL_GPIO_Init(GPIOD, &GPIO_InitStruct);

  /*Configure GPIO pins : USB_OTG_FS_PWR_EN_Pin SPBTLE_RF_SPI3_CSN_Pin ARD_D2_Pin PMOD_RESET_Pin
                           STSAFE_A100_RESET_Pin */
  GPIO_InitStruct.Pin = USB_OTG_FS_PWR_EN_Pin|SPBTLE_RF_SPI3_CSN_Pin|ARD_D2_Pin|PMOD_RESET_Pin
                          |STSAFE_A100_RESET_Pin;
  GPIO_InitStruct.Mode = GPIO_MODE_OUTPUT_PP;
  GPIO_InitStruct.Pull = GPIO_NOPULL;
  GPIO_InitStruct.Speed = GPIO_SPEED_FREQ_LOW;
  HAL_GPIO_Init(GPIOD, &GPIO_InitStruct);

  /*Configure GPIO pins : VL53L0X_XSHUT_Pin LED3_WIFI__LED4_BLE_Pin */
  GPIO_InitStruct.Pin = VL53L0X_XSHUT_Pin|LED3_WIFI__LED4_BLE_Pin;
  GPIO_InitStruct.Mode = GPIO_MODE_OUTPUT_PP;
  GPIO_InitStruct.Pull = GPIO_NOPULL;
  GPIO_InitStruct.Speed = GPIO_SPEED_FREQ_LOW;
  HAL_GPIO_Init(GPIOC, &GPIO_InitStruct);

  /*Configure GPIO pin : VL53L0X_GPIO1_EXTI7_Pin */
  GPIO_InitStruct.Pin = VL53L0X_GPIO1_EXTI7_Pin;
  GPIO_InitStruct.Mode = GPIO_MODE_IT_RISING;
  GPIO_InitStruct.Pull = GPIO_NOPULL;
  HAL_GPIO_Init(VL53L0X_GPIO1_EXTI7_GPIO_Port, &GPIO_InitStruct);

  /*Configure GPIO pin : PMOD_SPI2_SCK_Pin */
  GPIO_InitStruct.Pin = PMOD_SPI2_SCK_Pin;
  GPIO_InitStruct.Mode = GPIO_MODE_AF_PP;
  GPIO_InitStruct.Pull = GPIO_NOPULL;
  GPIO_InitStruct.Speed = GPIO_SPEED_FREQ_VERY_HIGH;
  GPIO_InitStruct.Alternate = GPIO_AF5_SPI2;
  HAL_GPIO_Init(PMOD_SPI2_SCK_GPIO_Port, &GPIO_InitStruct);

  /*Configure GPIO pins : PMOD_UART2_CTS_Pin PMOD_UART2_RTS_Pin PMOD_UART2_TX_Pin PMOD_UART2_RX_Pin */
  GPIO_InitStruct.Pin = PMOD_UART2_CTS_Pin|PMOD_UART2_RTS_Pin|PMOD_UART2_TX_Pin|PMOD_UART2_RX_Pin;
  GPIO_InitStruct.Mode = GPIO_MODE_AF_PP;
  GPIO_InitStruct.Pull = GPIO_NOPULL;
  GPIO_InitStruct.Speed = GPIO_SPEED_FREQ_VERY_HIGH;
  GPIO_InitStruct.Alternate = GPIO_AF7_USART2;
  HAL_GPIO_Init(GPIOD, &GPIO_InitStruct);

  /*Configure GPIO pins : ARD_D15_Pin ARD_D14_Pin */
  GPIO_InitStruct.Pin = ARD_D15_Pin|ARD_D14_Pin;
  GPIO_InitStruct.Mode = GPIO_MODE_IT_RISING;
  GPIO_InitStruct.Pull = GPIO_NOPULL;
  HAL_GPIO_Init(GPIOB, &GPIO_InitStruct);

  /* EXTI interrupt init*/
  HAL_NVIC_SetPriority(EXTI9_5_IRQn, 0, 0);
  HAL_NVIC_EnableIRQ(EXTI9_5_IRQn);

  HAL_NVIC_SetPriority(EXTI15_10_IRQn, 0, 0);
  HAL_NVIC_EnableIRQ(EXTI15_10_IRQn);

}

void Error_Handler(void)
{
  __disable_irq();
  while (1)
  {
  }
}

/************************ (C) COPYRIGHT STMicroelectronics *****END OF FILE****/
